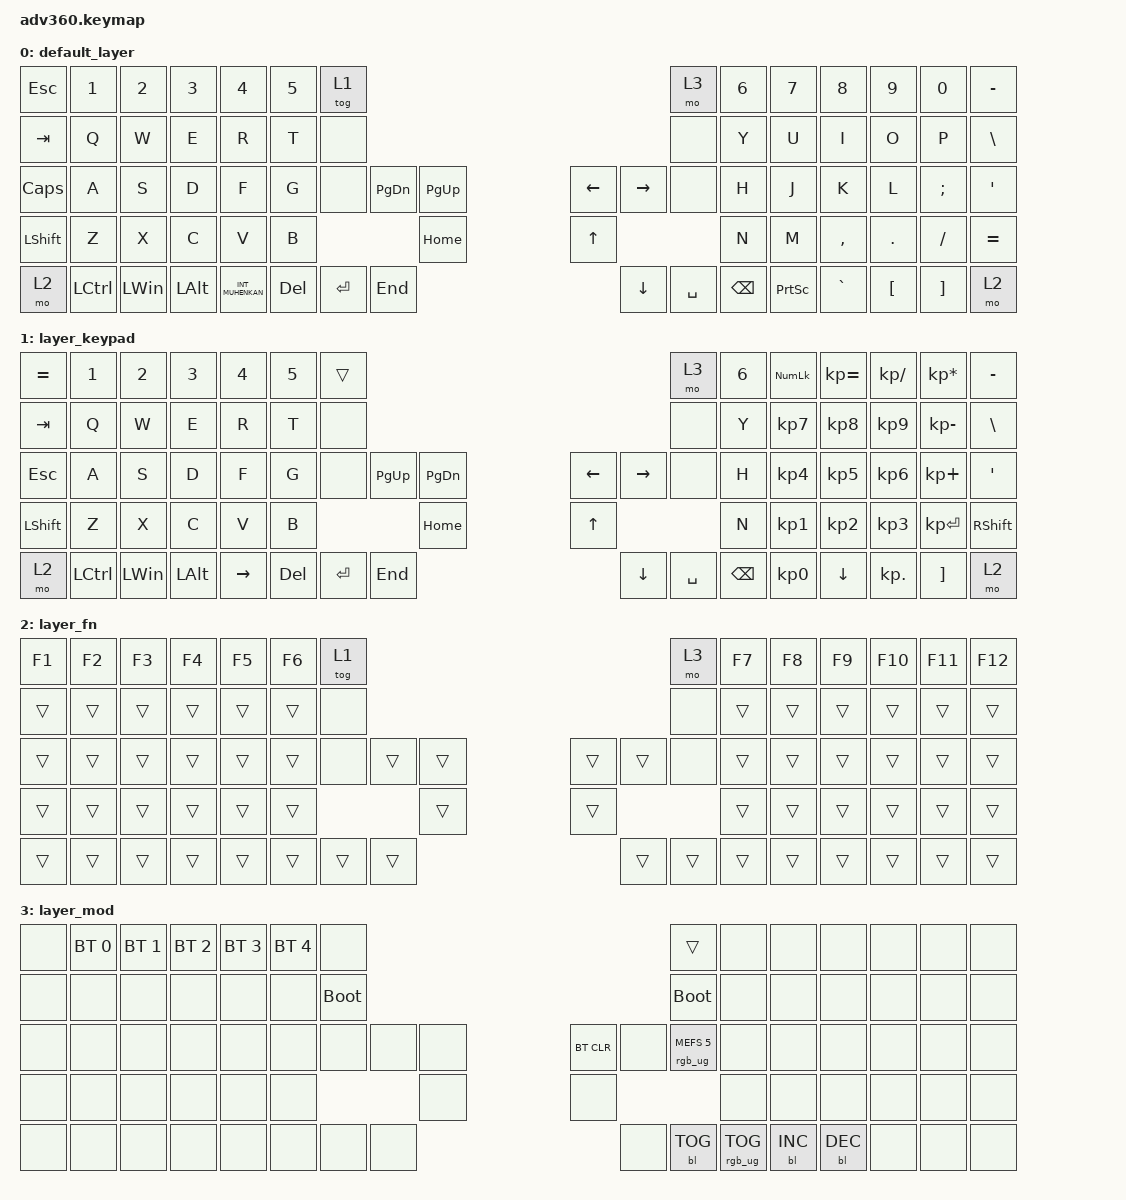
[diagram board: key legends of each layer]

/*
 * Copyright (c) 2020 The ZMK Contributors
 *
 * SPDX-License-Identifier: MIT
 */


/* THIS FILE WAS GENERATED!
 *
 * This file was generated automatically. You may or may not want to
 * edit it directly.
 */

#include <behaviors.dtsi>
#include <dt-bindings/zmk/keys.h>
#include <dt-bindings/zmk/bt.h>
#include <dt-bindings/zmk/rgb.h>
#include <dt-bindings/zmk/backlight.h>

/ {
  behaviors {
    #include "macros.dtsi"
    #include "version.dtsi"

    hm: homerow_mods {
        compatible = "zmk,behavior-hold-tap";
        label = "HOMEROW_MODS";
        #binding-cells = <2>;
        tapping-term-ms = <200>;
        quick_tap_ms = <175>;
        flavor = "tap-preferred";
        bindings = <&kp>, <&kp>;
    };
  };

    keymap {
        compatible = "zmk,keymap";


        default_layer {
            bindings = <
 &kp ESCAPE            &kp N1        &kp N2        &kp N3            &kp N4  &kp N5                &tog 1                                                                           &mo 3  &kp N6           &kp N7     &kp N8    &kp N9    &kp N0  &kp MINUS
    &kp TAB             &kp Q         &kp W         &kp E             &kp R   &kp T                 &none                                                                           &none   &kp Y            &kp U      &kp I     &kp O     &kp P   &kp BSLH
   &kp CAPS             &kp A         &kp S         &kp D             &kp F   &kp G                 &none  &kp PAGE_DOWN  &kp PAGE_UP                  &kp LEFT  &kp RIGHT          &none   &kp H            &kp J      &kp K     &kp L  &kp SEMI    &kp SQT
  &kp LSHFT             &kp Z         &kp X         &kp C             &kp V   &kp B                                          &kp HOME                    &kp UP                             &kp N            &kp M  &kp COMMA   &kp DOT  &kp FSLH  &kp EQUAL
      &mo 2  &kp LEFT_CONTROL  &kp LEFT_WIN  &kp LEFT_ALT  &kp INT_MUHENKAN                    &kp DELETE      &kp ENTER      &kp END                  &kp DOWN  &kp SPACE  &kp BACKSPACE          &kp PRINTSCREEN  &kp GRAVE  &kp LBKT  &kp RBKT      &mo 2
            >;
        };

        layer_keypad {
            bindings = <
 &kp EQUAL     &kp N1        &kp N2        &kp N3     &kp N4  &kp N5             &trans                                                                           &mo 3  &kp N6  &kp KP_NUM  &kp KP_EQUAL  &kp KP_DIVIDE  &kp KP_MULTIPLY  &kp MINUS
   &kp TAB      &kp Q         &kp W         &kp E      &kp R   &kp T              &none                                                                           &none   &kp Y   &kp KP_N7     &kp KP_N8      &kp KP_N9     &kp KP_MINUS   &kp BSLH
   &kp ESC      &kp A         &kp S         &kp D      &kp F   &kp G              &none  &kp PAGE_UP  &kp PAGE_DOWN                  &kp LEFT  &kp RIGHT          &none   &kp H   &kp KP_N4     &kp KP_N5      &kp KP_N6      &kp KP_PLUS    &kp SQT
 &kp LSHFT      &kp Z         &kp X         &kp C      &kp V   &kp B                                       &kp HOME                    &kp UP                             &kp N   &kp KP_N1     &kp KP_N2      &kp KP_N3     &kp KP_ENTER  &kp RSHFT
     &mo 2  &kp LCTRL  &kp LEFT_WIN  &kp LEFT_ALT  &kp RIGHT                    &kp DEL    &kp ENTER        &kp END                  &kp DOWN  &kp SPACE  &kp BACKSPACE           &kp KP_N0      &kp DOWN     &kp KP_DOT         &kp RBKT      &mo 2
            >;
        };

        layer_fn {
            bindings = <
 &kp F1  &kp F2  &kp F3  &kp F4  &kp F5  &kp F6            &tog 1                                                   &mo 3  &kp F7  &kp F8  &kp F9  &kp F10  &kp F11  &kp F12
 &trans  &trans  &trans  &trans  &trans  &trans             &none                                                   &none  &trans  &trans  &trans   &trans   &trans   &trans
 &trans  &trans  &trans  &trans  &trans  &trans             &none  &trans  &trans                  &trans  &trans   &none  &trans  &trans  &trans   &trans   &trans   &trans
 &trans  &trans  &trans  &trans  &trans  &trans                            &trans                  &trans                  &trans  &trans  &trans   &trans   &trans   &trans
 &trans  &trans  &trans  &trans  &trans                    &trans  &trans  &trans                  &trans  &trans  &trans          &trans  &trans   &trans   &trans   &trans
            >;
        };

        layer_mod {
            bindings = <
  &none  &bt BT_SEL 0  &bt BT_SEL 1  &bt BT_SEL 2  &bt BT_SEL 3  &bt BT_SEL 4                  &none                                                                          &trans   &none       &none       &none   &none   &none   &none
  &none         &none         &none         &none         &none         &none            &bootloader                                                                     &bootloader   &none       &none       &none   &none   &none   &none
  &none         &none         &none         &none         &none         &none                  &none   &none   &none                  &bt BT_CLR       &none  &rgb_ug RGB_MEFS_CMD 5   &none       &none       &none   &none   &none   &none
  &none         &none         &none         &none         &none         &none                                  &none                       &none                                       &none       &none       &none   &none   &none   &none
  &none         &none         &none         &none         &none                                &none   &none   &none                       &none  &bl BL_TOG         &rgb_ug RGB_TOG          &bl BL_INC  &bl BL_DEC   &none   &none   &none
            >;
        };

    };
};
